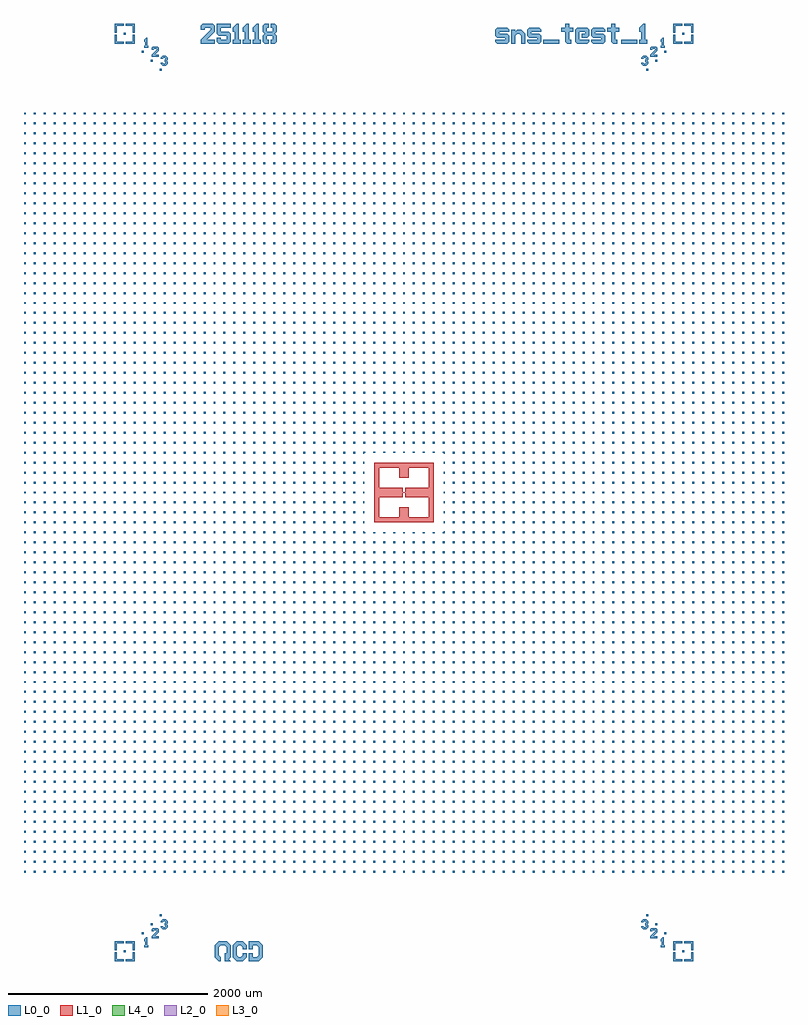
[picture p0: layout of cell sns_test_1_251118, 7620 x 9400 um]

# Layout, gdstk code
import gdstk
lib = gdstk.Library(unit=1e-6, precision=1e-09)
def R(c, l, rs):  # rectangles x0, y0, x1, y1
    for r in rs: c.add(gdstk.rectangle(r[:2], r[2:], *l))
def A(c, l, x, y, w, h, nx, ny, dx, dy):  # array of equal rectangles
    R(c, l, [(x+i*dx, y+j*dy, x+i*dx+w, y+j*dy+h) for i in range(nx) for j in range(ny)])
def P(c, l, *ps):  # polygons
    for p in ps: c.add(gdstk.Polygon(p, *l))
L0_0 = (0, 0)
L1_0 = (1, 0)
L2_0 = (2, 0)
L3_0 = (3, 0)
L4_0 = (4, 0)

remarks = lib.new_cell('remarks')
R(remarks, L0_0, [(-2810,-4610,-2790,-4590), (2790,-4610,2810,-4590), (-2630,-4430,-2610,-4410), (2610,-4430,2630,-4410), (-2540,-4340,-2520,-4320), (2520,-4340,2540,-4320), (-2450,-4250,-2430,-4230), (2430,-4250,2450,-4230), (-2450,4230,-2430,4250), (2430,4230,2450,4250), (-2540,4320,-2520,4340), (2520,4320,2540,4340), (-2630,4410,-2610,4430), (2610,4410,2630,4430), (1396.667,4500,1556.667,4540), (2176.667,4500,2336.667,4540), (-2810,4590,-2790,4610), (2790,4590,2810,4610)])
P(remarks, L0_0, [(936.667,4500),(916.667,4520),(916.667,4540),(1016.667,4540),(1016.667,4560),(936.667,4560),(916.667,4580),(916.667,4640),(936.667,4660),(1036.667,4660),(1056.667,4640),(1056.667,4620),(956.667,4620),(956.667,4600),(1036.667,4600),(1056.667,4580),(1056.667,4520),(1036.667,4500)],
  [(1076.667,4500),(1076.667,4640),(1116.667,4640),(1116.667,4620),(1136.667,4640),(1176.667,4640),(1216.667,4600),(1216.667,4500),(1176.667,4500),(1176.667,4580),(1156.667,4600),(1136.667,4600),(1116.667,4580),(1116.667,4500)],
  [(1256.667,4500),(1236.667,4520),(1236.667,4540),(1336.667,4540),(1336.667,4560),(1256.667,4560),(1236.667,4580),(1236.667,4640),(1256.667,4660),(1356.667,4660),(1376.667,4640),(1376.667,4620),(1276.667,4620),(1276.667,4600),(1356.667,4600),(1376.667,4580),(1376.667,4520),(1356.667,4500)],
  [(1636.667,4500),(1616.667,4520),(1616.667,4620),(1576.667,4620),(1576.667,4660),(1616.667,4660),(1616.667,4700),(1656.667,4700),(1656.667,4660),(1696.667,4660),(1696.667,4620),(1656.667,4620),(1656.667,4540),(1676.667,4540),(1676.667,4500)],
  [(1736.667,4500),(1716.667,4520),(1716.667,4640),(1736.667,4660),(1836.667,4660),(1856.667,4640),(1856.667,4580),(1836.667,4560),(1784.667,4560),(1784.667,4600),(1816.667,4600),(1816.667,4620),(1756.667,4620),(1756.667,4540),(1856.667,4540),(1856.667,4520),(1836.667,4500)],
  [(1896.667,4500),(1876.667,4520),(1876.667,4540),(1976.667,4540),(1976.667,4560),(1896.667,4560),(1876.667,4580),(1876.667,4640),(1896.667,4660),(1996.667,4660),(2016.667,4640),(2016.667,4620),(1916.667,4620),(1916.667,4600),(1996.667,4600),(2016.667,4580),(2016.667,4520),(1996.667,4500)],
  [(2096.667,4500),(2076.667,4520),(2076.667,4620),(2036.667,4620),(2036.667,4660),(2076.667,4660),(2076.667,4700),(2116.667,4700),(2116.667,4660),(2156.667,4660),(2156.667,4620),(2116.667,4620),(2116.667,4540),(2136.667,4540),(2136.667,4500)],
  [(2356.667,4500),(2356.667,4540),(2376.667,4540),(2376.667,4620),(2356.667,4620),(2356.667,4660),(2396.667,4700),(2416.667,4700),(2416.667,4540),(2436.667,4540),(2436.667,4500)],
  [(-2036.667,4500),(-2036.667,4540),(-1936.667,4640),(-1936.667,4660),(-1996.667,4660),(-1996.667,4640),(-2036.667,4640),(-2036.667,4680),(-2016.667,4700),(-1916.667,4700),(-1896.667,4680),(-1896.667,4620),(-1976.667,4540),(-1896.667,4540),(-1896.667,4500)],
  [(-1856.667,4500),(-1876.667,4520),(-1876.667,4560),(-1836.667,4560),(-1836.667,4540),(-1776.667,4540),(-1776.667,4580),(-1856.667,4580),(-1876.667,4600),(-1876.667,4700),(-1736.667,4700),(-1736.667,4660),(-1836.667,4660),(-1836.667,4620),(-1756.667,4620),(-1736.667,4600),(-1736.667,4520),(-1756.667,4500)],
  [(-1716.667,4500),(-1716.667,4540),(-1696.667,4540),(-1696.667,4620),(-1716.667,4620),(-1716.667,4660),(-1676.667,4700),(-1656.667,4700),(-1656.667,4540),(-1636.667,4540),(-1636.667,4500)],
  [(-1616.667,4500),(-1616.667,4540),(-1596.667,4540),(-1596.667,4620),(-1616.667,4620),(-1616.667,4660),(-1576.667,4700),(-1556.667,4700),(-1556.667,4540),(-1536.667,4540),(-1536.667,4500)],
  [(-1516.667,4500),(-1516.667,4540),(-1496.667,4540),(-1496.667,4620),(-1516.667,4620),(-1516.667,4660),(-1476.667,4700),(-1456.667,4700),(-1456.667,4540),(-1436.667,4540),(-1436.667,4500)],
  [(-1396.667,4500),(-1416.667,4520),(-1416.667,4580),(-1396.667,4600),(-1416.667,4620),(-1416.667,4680),(-1396.667,4700),(-1356.667,4700),(-1356.667,4660),(-1376.667,4660),(-1376.667,4620),(-1316.667,4620),(-1316.667,4660),(-1336.667,4660),(-1336.667,4700),(-1296.667,4700),(-1276.667,4680),(-1276.667,4620),(-1296.667,4600),(-1276.667,4580),(-1276.667,4520),(-1296.667,4500),(-1336.667,4500),(-1336.667,4540),(-1316.667,4540),(-1316.667,4580),(-1376.667,4580),(-1376.667,4540),(-1356.667,4540),(-1356.667,4500)],
  [(-1856.667,-4700),(-1896.667,-4660),(-1896.667,-4540),(-1856.667,-4500),(-1776.667,-4500),(-1736.667,-4540),(-1736.667,-4660),(-1756.667,-4680),(-1736.667,-4700),(-1796.667,-4700),(-1796.667,-4620),(-1776.667,-4620),(-1776.667,-4560),(-1796.667,-4540),(-1836.667,-4540),(-1856.667,-4560),(-1856.667,-4640),(-1836.667,-4660),(-1836.667,-4700)],
  [(-1676.667,-4700),(-1716.667,-4660),(-1716.667,-4540),(-1676.667,-4500),(-1616.667,-4500),(-1576.667,-4540),(-1576.667,-4580),(-1616.667,-4580),(-1616.667,-4560),(-1636.667,-4540),(-1656.667,-4540),(-1676.667,-4560),(-1676.667,-4640),(-1656.667,-4660),(-1636.667,-4660),(-1616.667,-4640),(-1616.667,-4620),(-1576.667,-4620),(-1576.667,-4660),(-1616.667,-4700)],
  [(-1556.667,-4700),(-1556.667,-4620),(-1516.667,-4620),(-1516.667,-4660),(-1476.667,-4660),(-1456.667,-4640),(-1456.667,-4560),(-1476.667,-4540),(-1516.667,-4540),(-1516.667,-4580),(-1556.667,-4580),(-1556.667,-4500),(-1456.667,-4500),(-1416.667,-4540),(-1416.667,-4660),(-1456.667,-4700)],
  [(-2900,-4590),(-2900,-4500),(-2810,-4500),(-2810,-4520),(-2880,-4520),(-2880,-4590)],
  [(-2900,4500),(-2900,4590),(-2880,4590),(-2880,4520),(-2810,4520),(-2810,4500)],
  [(2810,4500),(2810,4520),(2880,4520),(2880,4590),(2900,4590),(2900,4500)],
  [(2880,-4590),(2880,-4520),(2810,-4520),(2810,-4500),(2900,-4500),(2900,-4590)],
  [(-2900,-4700),(-2900,-4610),(-2880,-4610),(-2880,-4680),(-2810,-4680),(-2810,-4700)],
  [(-2900,4610),(-2900,4700),(-2810,4700),(-2810,4680),(-2880,4680),(-2880,4610)],
  [(2880,4610),(2880,4680),(2810,4680),(2810,4700),(2900,4700),(2900,4610)],
  [(2810,-4700),(2810,-4680),(2880,-4680),(2880,-4610),(2900,-4610),(2900,-4700)],
  [(-2790,-4700),(-2790,-4680),(-2720,-4680),(-2720,-4610),(-2700,-4610),(-2700,-4700)],
  [(-2720,4610),(-2720,4680),(-2790,4680),(-2790,4700),(-2700,4700),(-2700,4610)],
  [(2700,4610),(2700,4700),(2790,4700),(2790,4680),(2720,4680),(2720,4610)],
  [(2700,-4700),(2700,-4610),(2720,-4610),(2720,-4680),(2790,-4680),(2790,-4700)],
  [(-2720,-4590),(-2720,-4520),(-2790,-4520),(-2790,-4500),(-2700,-4500),(-2700,-4590)],
  [(-2790,4500),(-2790,4520),(-2720,4520),(-2720,4590),(-2700,4590),(-2700,4500)],
  [(2700,4500),(2700,4590),(2720,4590),(2720,4520),(2790,4520),(2790,4500)],
  [(2700,-4590),(2700,-4500),(2790,-4500),(2790,-4520),(2720,-4520),(2720,-4590)],
  [(-2605,-4560),(-2605,-4540),(-2595,-4540),(-2595,-4500),(-2605,-4500),(-2605,-4480),(-2585,-4460),(-2575,-4460),(-2575,-4540),(-2565,-4540),(-2565,-4560)],
  [(-2605,4460),(-2605,4480),(-2595,4480),(-2595,4520),(-2605,4520),(-2605,4540),(-2585,4560),(-2575,4560),(-2575,4480),(-2565,4480),(-2565,4460)],
  [(2575,4460),(2575,4480),(2585,4480),(2585,4520),(2575,4520),(2575,4540),(2595,4560),(2605,4560),(2605,4480),(2615,4480),(2615,4460)],
  [(2575,-4560),(2575,-4540),(2585,-4540),(2585,-4500),(2575,-4500),(2575,-4480),(2595,-4460),(2605,-4460),(2605,-4540),(2615,-4540),(2615,-4560)],
  [(-2530,-4470),(-2530,-4450),(-2480,-4400),(-2480,-4390),(-2510,-4390),(-2510,-4400),(-2530,-4400),(-2530,-4380),(-2520,-4370),(-2470,-4370),(-2460,-4380),(-2460,-4410),(-2500,-4450),(-2460,-4450),(-2460,-4470)],
  [(-2530,4370),(-2530,4390),(-2480,4440),(-2480,4450),(-2510,4450),(-2510,4440),(-2530,4440),(-2530,4460),(-2520,4470),(-2470,4470),(-2460,4460),(-2460,4430),(-2500,4390),(-2460,4390),(-2460,4370)],
  [(2470,4370),(2470,4390),(2520,4440),(2520,4450),(2490,4450),(2490,4440),(2470,4440),(2470,4460),(2480,4470),(2530,4470),(2540,4460),(2540,4430),(2500,4390),(2540,4390),(2540,4370)],
  [(2470,-4470),(2470,-4450),(2520,-4400),(2520,-4390),(2490,-4390),(2490,-4400),(2470,-4400),(2470,-4380),(2480,-4370),(2530,-4370),(2540,-4380),(2540,-4410),(2500,-4450),(2540,-4450),(2540,-4470)],
  [(-2420,-4380),(-2440,-4360),(-2440,-4350),(-2420,-4350),(-2410,-4360),(-2400,-4360),(-2390,-4350),(-2400,-4340),(-2400,-4320),(-2390,-4310),(-2400,-4300),(-2410,-4300),(-2420,-4310),(-2440,-4310),(-2440,-4300),(-2420,-4280),(-2390,-4280),(-2370,-4300),(-2370,-4320),(-2380,-4330),(-2370,-4340),(-2370,-4360),(-2390,-4380)],
  [(-2420,4280),(-2440,4300),(-2440,4310),(-2420,4310),(-2410,4300),(-2400,4300),(-2390,4310),(-2400,4320),(-2400,4340),(-2390,4350),(-2400,4360),(-2410,4360),(-2420,4350),(-2440,4350),(-2440,4360),(-2420,4380),(-2390,4380),(-2370,4360),(-2370,4340),(-2380,4330),(-2370,4320),(-2370,4300),(-2390,4280)],
  [(2400,4280),(2380,4300),(2380,4310),(2400,4310),(2410,4300),(2420,4300),(2430,4310),(2420,4320),(2420,4340),(2430,4350),(2420,4360),(2410,4360),(2400,4350),(2380,4350),(2380,4360),(2400,4380),(2430,4380),(2450,4360),(2450,4340),(2440,4330),(2450,4320),(2450,4300),(2430,4280)],
  [(2400,-4380),(2380,-4360),(2380,-4350),(2400,-4350),(2410,-4360),(2420,-4360),(2430,-4350),(2420,-4340),(2420,-4320),(2430,-4310),(2420,-4300),(2410,-4300),(2400,-4310),(2380,-4310),(2380,-4300),(2400,-4280),(2430,-4280),(2450,-4300),(2450,-4320),(2440,-4330),(2450,-4340),(2450,-4360),(2430,-4380)])

nb_inv = lib.new_cell('Nb_inv')
R(nb_inv, L1_0, [(-250,-50,-11,50), (11,-50,250,50)])
P(nb_inv, L1_0, [(-300,-300),(-300,250),(50,250),(50,150),(-50,150),(-50,250),(-250,250),(-250,-250),(-50,-250),(-50,-150),(50,-150),(50,-250),(250,-250),(250,250),(-300,250),(-300,300),(300,300),(300,-300)],
  [(-11,-5),(-11,5),(3.35,5),(3.35,0.95),(6.35,0.95),(6.35,5),(11,5),(11,-5),(-3.35,-5),(-3.35,-0.95),(-6.35,-0.95),(-6.35,-5)])

jj1 = lib.new_cell('JJ1')
R(jj1, L2_0, [(-0.05,-1.45,0.05,1.45), (-4.35,-0.45,1.05,-0.15), (-1.05,0.15,4.35,0.45)])

ghost1 = lib.new_cell('Ghost1')
R(ghost1, L3_0, [(-0.15,-2.25,0.15,-1.25), (-5.15,-0.55,-4.15,-0.05), (0.85,-0.55,1.85,-0.05), (-1.85,0.05,-0.85,0.55), (4.15,0.05,5.15,0.55), (-0.15,1.25,0.15,2.25)])

patch = lib.new_cell('Patch')
R(patch, L4_0, [(-4.85,-2.45,-3.35,0.35), (3.35,-0.35,4.85,2.45)])

unnamed_81 = lib.new_cell('Unnamed_81')
A(unnamed_81, L0_0, -3810, -3810, 20, 20, 77, 34, 100, 100)
A(unnamed_81, L0_0, -3810, -410, 20, 20, 34, 9, 100, 100)
A(unnamed_81, L0_0, -310, -410, 20, 10, 7, 2, 100, 810)
A(unnamed_81, L0_0, 490, -410, 20, 20, 34, 9, 100, 100)
A(unnamed_81, L0_0, -410, -310, 10, 20, 1, 7, 0, 100)
A(unnamed_81, L0_0, 400, -310, 10, 20, 1, 7, 0, 100)
A(unnamed_81, L0_0, -3810, 490, 20, 20, 77, 34, 100, 100)
P(unnamed_81, L0_0, [(400,390),(400,400),(390,400),(390,410),(410,410),(410,390)],
  [(-410,390),(-410,410),(-390,410),(-390,400),(-400,400),(-400,390)],
  [(-410,-410),(-410,-390),(-400,-390),(-400,-400),(-390,-400),(-390,-410)],
  [(390,-410),(390,-400),(400,-400),(400,-390),(410,-390),(410,-410)])

sns_test_1_251118 = lib.new_cell('sns_test_1_251118')
sns_test_1_251118.add(gdstk.Reference(remarks, (0,0)))
sns_test_1_251118.add(gdstk.Reference(nb_inv, (0,0)))
sns_test_1_251118.add(gdstk.Reference(jj1, (0,0)))
sns_test_1_251118.add(gdstk.Reference(ghost1, (0,0)))
sns_test_1_251118.add(gdstk.Reference(patch, (0,0)))
sns_test_1_251118.add(gdstk.Reference(unnamed_81, (0,0)))

lib.write_gds('sns_test_1_251118.gds')
